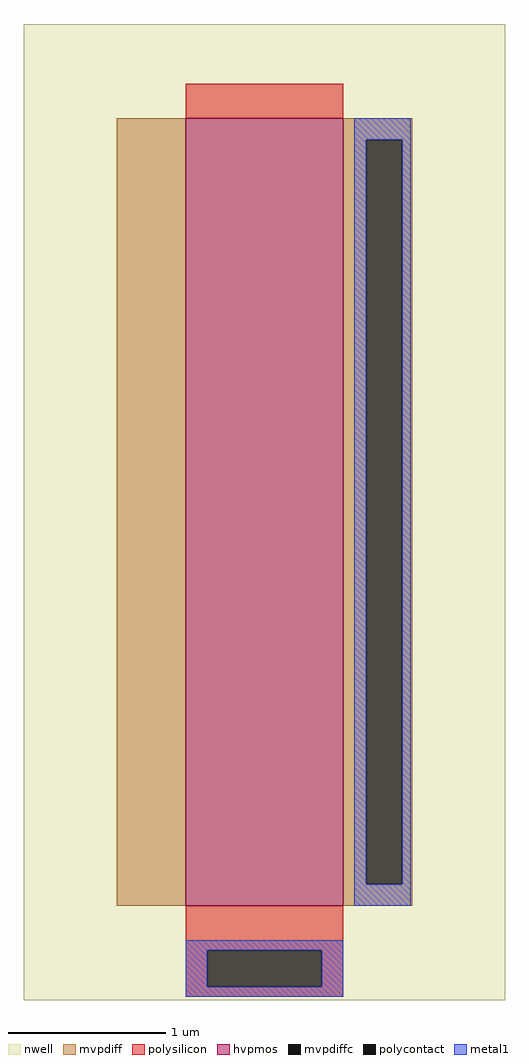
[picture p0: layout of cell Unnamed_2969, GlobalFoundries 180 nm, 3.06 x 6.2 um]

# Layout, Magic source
magic
tech gf180mcuD
magscale 1 10
<< nwell >>
rect -192 -120 420 1120
<< hvpmos >>
rect 14 0 214 1000
<< mvpdiff >>
rect -74 0 14 1000
rect 214 973 302 1000
rect 214 27 243 973
rect 289 27 302 973
rect 214 0 302 27
<< mvpdiffc >>
rect 243 27 289 973
<< polysilicon >>
rect 14 1000 214 1044
rect 14 -57 214 0
rect 14 -103 41 -57
rect 187 -103 214 -57
rect 14 -116 214 -103
<< polycontact >>
rect 41 -103 187 -57
<< metal1 >>
rect 228 973 300 1000
rect 228 27 243 973
rect 289 27 300 973
rect 228 0 300 27
rect 14 -57 214 -44
rect 14 -103 41 -57
rect 187 -103 214 -57
rect 14 -116 214 -103
<< end >>
